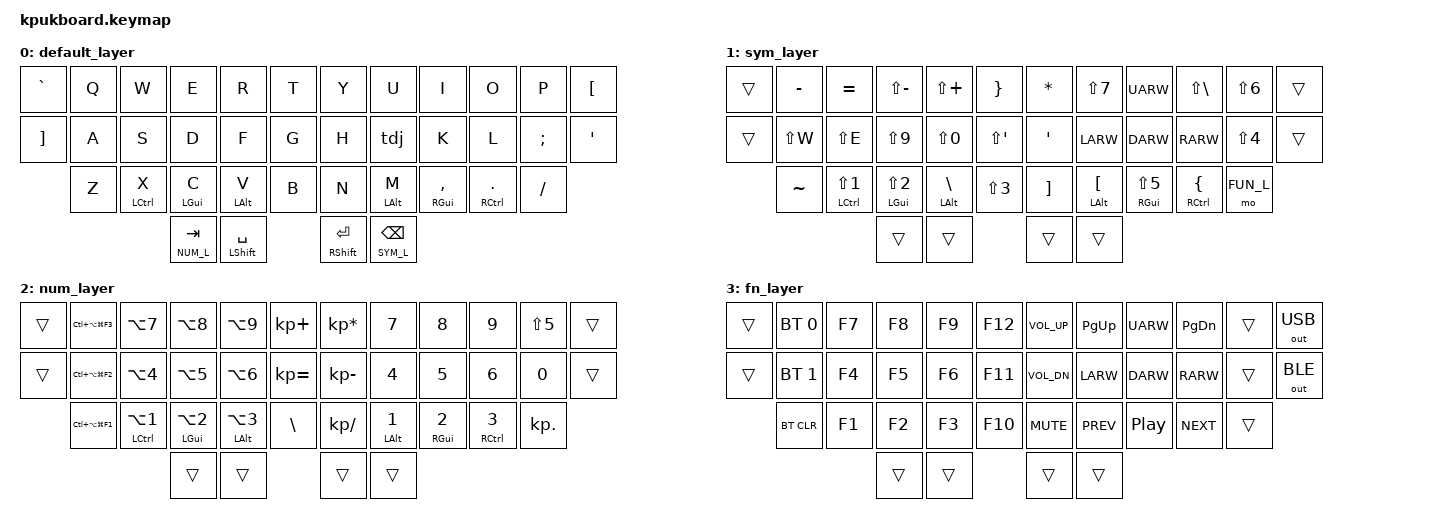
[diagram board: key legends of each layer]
/*
 * Copyright (c) 2020 The ZMK Contributors
 *
 * SPDX-License-Identifier: MIT
 */

#include <behaviors.dtsi>
#include <dt-bindings/zmk/keys.h>
#include <dt-bindings/zmk/bt.h>
#include <dt-bindings/zmk/outputs.h>

#define DEF_L 0
#define SYM_L 1
#define NUM_L 2
#define FUN_L 3

// Using layer taps on thumbs, having quick tap as well helps w/ repeating space/backspace
// &lt { quick_tap_ms = <-1>; };

/ {
    behaviors {
        ht: hold_tap_mods_standard {
            compatible = "zmk,behavior-hold-tap";
            label = "HOLD_TAP_PREF";
            #binding-cells = <2>;
            tapping-term-ms = <200>;
            flavor = "balanced";
            bindings = <&kp>, <&kp>;
        };

        hm: home_row_tap_mods {
            compatible = "zmk,behavior-hold-tap";
            label = "HOLD_TAP_TAP_PREF";
            #binding-cells = <2>;
            tapping-term-ms = <200>;
            flavor = "tap-preferred";
            bindings = <&kp>, <&kp>;
        };

        tdj: tap_dance_1 {
            compatible = "zmk,behavior-tap-dance";
            label = "TAP_DANCE_1";
            #binding-cells = <0>;
            tapping-term-ms = <175>;
            bindings = <&kp J>, <&kp ESC>;
        };

    };

    keymap {
        compatible = "zmk,keymap";

// DEFAULT

/*
 *   dvorak
 *
 *   ` ' , . p y   f g c r l /   |
 *   = a o e u i   d h t n s -   |
 *     ; q j k x   b m w v z     |
 *
 *   йцукен
 *
 *   ё й ц у к е   н г ш щ з х   |
 *   ъ ф ы в а п   р о л д ж э   |
 *     я ч с м и   т ь б ю .     |
 */

        default_layer {
            bindings = <
                &kp GRAVE &kp Q   &kp W        &kp E       &kp R       &kp T         &kp Y            &kp U          &kp I            &kp O           &kp P     &kp LBKT
                &kp RBKT  &kp A   &kp S        &kp D       &kp F       &kp G         &kp H            &tdj           &kp K            &kp L           &kp SEMI  &kp QUOT
                          &kp Z   &hm LCTRL X  &hm LGUI C  &hm LALT V  &kp B         &kp N            &hm LALT M     &hm RGUI COMMA   &hm RCTRL DOT   &kp FSLH
                                            &lt NUM_L TAB  &ht LSHFT SPACE           &ht RSHFT ENTER  &lt SYM_L BKSP
                >;
        };


/*
 *   dvorak
 *
 *   [ ] { } +   * & a | ^   |
 *   < > ( ) _   - a a a $   |
 *   ~ ! @ \ #   = / % ? 3   |
 *
 *   йцукен
 *
 *   [ ] { } +   * ? а / :   |
 *   Ц У ( ) ъ   э а а а Э   |
 *   Ë ! " № \   х ; % Х 3   |
 */

        sym_layer {
            bindings = <
                &trans &kp MINUS        &kp EQUAL         &kp LS(MINUS)    &kp LS(PLUS)     &kp RBRC      &kp STAR  &kp LS(N7)       &kp UARW         &kp LS(BSLH)     &kp LS(N6) &trans
                &trans &kp LS(W)        &kp LS(E)         &kp LS(N9)       &kp LS(N0)       &kp LS(QUOT)  &kp QUOT  &kp LARW         &kp DARW         &kp RARW         &kp LS(N4) &trans
                       &kp TILDE        &hm LCTRL LS(N1)  &hm LGUI LS(N2)  &hm LALT BSLH    &kp LS(N3)    &kp RBKT  &hm LALT LBKT    &hm RGUI LS(N5)  &hm RCTRL LBRC   &mo FUN_L
                                                                               &trans &trans              &trans &trans
            >;
        };

/*
 *     ALT +
 *   v 7 8 9 +   * 7 8 9 %   |
 *   v 4 5 6 =   - 4 5 6 0   |
 *   v 1 2 3 \   / 1 2 3 .   |
 */

        num_layer {
            bindings = <
                &trans &kp LC(LA(LG(F3)))    &kp LA(N7)        &kp LA(N8)        &kp LA(N9)        &kp KP_PLUS           &kp KP_MULTIPLY  &kp N7       &kp N8       &kp N9        &kp LS(N5) &trans
                &trans &kp LC(LA(LG(F2)))    &kp LA(N4)        &kp LA(N5)        &kp LA(N6)        &kp KP_EQUAL          &kp KP_MINUS     &kp N4       &kp N5       &kp N6        &kp N0     &trans
                       &kp LC(LA(LG(F1)))    &hm LCTRL LA(N1)  &hm LGUI LA(N2)   &hm LALT LA(N3)   &kp BSLH              &kp KP_SLASH     &hm LALT N1  &hm RGUI N2  &hm RCTRL N3  &kp KP_DOT
                                                                                    &trans &trans                &trans &trans
            >;
        };

/*     F F F F
 *   b 7 8 9 2   v u a d x b |
 *   b 4 5 6 1   v a a a x u |
 *   b 1 2 3 0   m p p n x   |
 */

        fn_layer {
            bindings = <
                &trans &bt BT_SEL 0  &kp F7  &kp F8  &kp F9   &kp F12          &kp C_VOL_UP    &kp PG_UP   &kp UARW  &kp PG_DN   &trans &out OUT_USB
                &trans &bt BT_SEL 1  &kp F4  &kp F5  &kp F6   &kp F11          &kp C_VOL_DN    &kp LARW    &kp DARW  &kp RARW    &trans &out OUT_BLE
                       &bt BT_CLR    &kp F1  &kp F2  &kp F3   &kp F10          &kp C_MUTE      &kp C_PREV  &kp C_PP  &kp C_NEXT  &trans
                                                        &trans &trans                      &trans &trans
            >;
        };

    };
};
